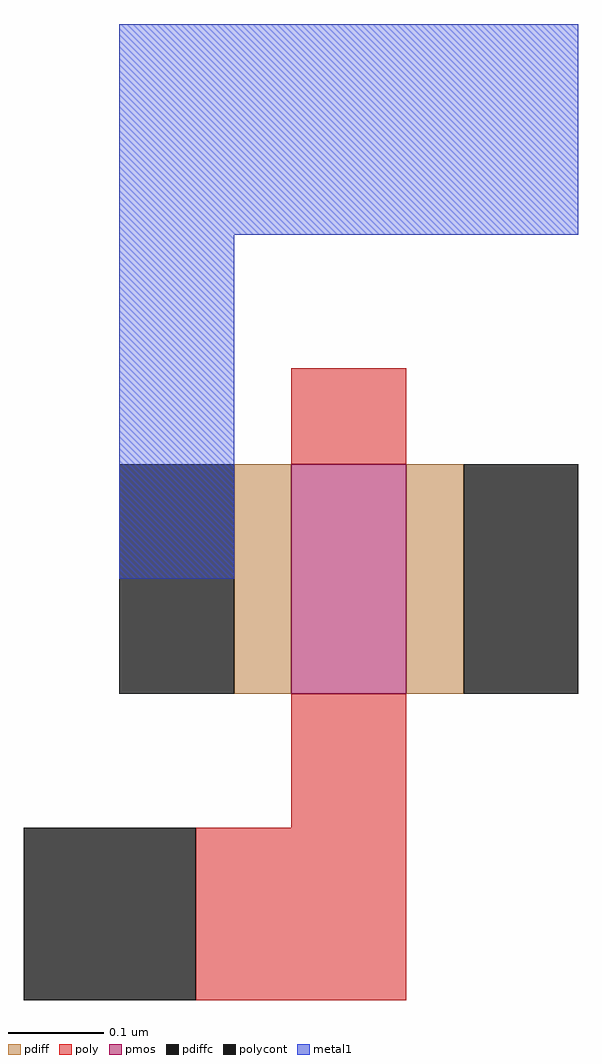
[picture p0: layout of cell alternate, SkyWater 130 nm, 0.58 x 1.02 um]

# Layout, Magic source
magic
tech sky130A
<< pmos >>
rect -6 0 6 24
<< pdiff >>
rect -12 0 -6 24
rect 6 0 12 24
<< pdiffc >>
rect -24 0 -12 24
rect 12 0 24 24
<< poly >>
rect -6 24 6 34
rect -6 -14 6 0
rect -16 -32 6 -14
<< polycont >>
rect -34 -32 -16 -14
<< metal1 >>
rect -24 48 24 70
rect -24 12 -12 48
<< end >>
